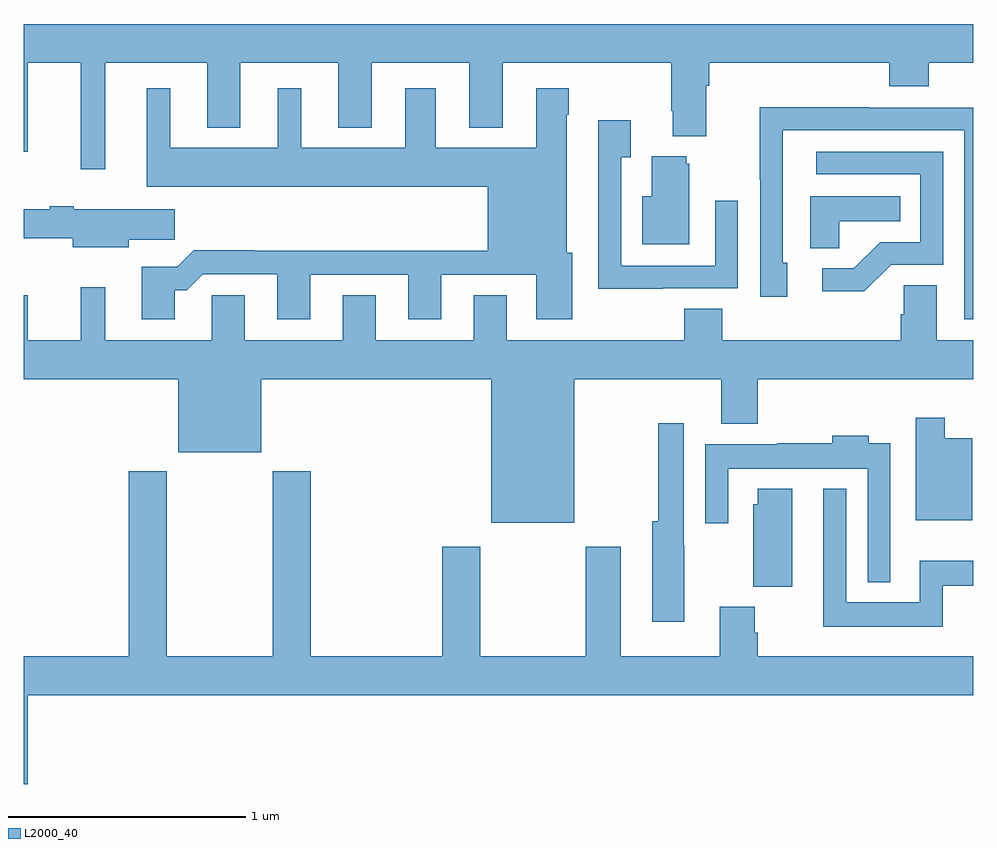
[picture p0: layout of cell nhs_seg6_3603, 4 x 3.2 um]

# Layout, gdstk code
import gdstk
lib = gdstk.Library(unit=1e-6, precision=1e-09)
def P(c, l, *ps):  # polygons
    for p in ps: c.add(gdstk.Polygon(p, *l))
L2000_40 = (2000, 40)

nhs_seg6_3603 = lib.new_cell('nhs_seg6_3603')
P(nhs_seg6_3603, L2000_40, [(321.343,980.636),(321.773,980.636),(321.773,980.363),(321.913,980.363),(321.913,980.636),(322.325,980.636),(322.325,980.363),(322.465,980.363),(322.465,980.636),(322.877,980.636),(322.877,980.363),(323.017,980.363),(323.017,980.636),(323.728,980.636),(323.728,980.434),(323.735,980.434),(323.735,980.327),(323.875,980.327),(323.875,980.54),(323.888,980.54),(323.888,980.636),(324.647,980.636),(324.647,980.537),(324.812,980.537),(324.812,980.636),(325,980.636),(325,980.8),(321,980.8),(321,980.262),(321.016,980.262),(321.016,980.636),(321.239,980.636),(321.239,980.187),(321.343,980.187)],
  [(321.637,979.679),(321.686,979.679),(321.753,979.746),(322.067,979.746),(322.067,979.557),(322.207,979.557),(322.207,979.743),(322.619,979.743),(322.619,979.557),(322.759,979.557),(322.759,979.743),(323.159,979.743),(323.159,979.557),(323.311,979.557),(323.311,979.836),(323.287,979.836),(323.287,980.417),(323.295,980.417),(323.295,980.53),(323.159,980.53),(323.159,980.278),(322.735,980.278),(322.735,980.53),(322.607,980.53),(322.607,980.278),(322.168,980.278),(322.168,980.53),(322.07,980.53),(322.07,980.278),(321.616,980.278),(321.616,980.53),(321.518,980.53),(321.518,980.114),(322.955,980.114),(322.955,979.844),(321.971,979.844),(321.971,979.847),(321.716,979.847),(321.646,979.777),(321.497,979.777),(321.497,979.557),(321.637,979.557)],
  [(325,980.448),(324.563,980.448),(324.563,980.45),(324.1,980.45),(324.1,980.143),(324.102,980.143),(324.102,979.65),(324.217,979.65),(324.217,979.794),(324.198,979.794),(324.198,980.352),(324.963,980.352),(324.963,979.557),(325,979.557)],
  [(323.693,979.686),(324.009,979.686),(324.009,980.056),(323.913,980.056),(323.913,979.782),(323.517,979.782),(323.517,980.239),(323.557,980.239),(323.557,980.395),(323.42,980.395),(323.42,979.936),(323.421,979.936),(323.421,979.685),(323.693,979.685)],
  [(324.654,979.785),(324.873,979.785),(324.873,980.262),(324.339,980.262),(324.339,980.166),(324.777,980.166),(324.777,979.881),(324.608,979.881),(324.497,979.77),(324.363,979.77),(324.363,979.673),(324.541,979.673)],
  [(323.803,980.211),(323.792,980.211),(323.792,980.242),(323.645,980.242),(323.645,980.074),(323.606,980.074),(323.606,979.871),(323.803,979.871)],
  [(324.435,979.97),(324.692,979.97),(324.692,980.074),(324.314,980.074),(324.314,979.855),(324.435,979.855)],
  [(321.442,979.891),(321.637,979.891),(321.637,980.02),(321.21,980.02),(321.21,980.033),(321.11,980.033),(321.11,980.02),(321,980.02),(321,979.898),(321.206,979.898),(321.206,979.859),(321.442,979.859)],
  [(323.32,979.304),(323.939,979.304),(323.939,979.115),(324.092,979.115),(324.092,979.304),(325,979.304),(325,979.468),(324.847,979.468),(324.847,979.7),(324.708,979.7),(324.708,979.577),(324.695,979.577),(324.695,979.468),(323.942,979.468),(323.942,979.601),(323.782,979.601),(323.782,979.468),(323.035,979.468),(323.035,979.658),(322.895,979.658),(322.895,979.468),(322.483,979.468),(322.483,979.658),(322.343,979.658),(322.343,979.468),(321.931,979.468),(321.931,979.658),(321.792,979.658),(321.792,979.468),(321.343,979.468),(321.343,979.69),(321.239,979.69),(321.239,979.468),(321.016,979.468),(321.016,979.657),(321,979.657),(321,979.304),(321.65,979.304),(321.65,978.995),(322,978.995),(322,979.304),(322.97,979.304),(322.97,978.698),(323.32,978.698)],
  [(324.997,979.054),(324.88,979.054),(324.88,979.141),(324.758,979.141),(324.758,978.71),(324.997,978.71)],
  [(323.782,978.602),(323.781,978.602),(323.781,979.117),(323.673,979.117),(323.673,978.706),(323.648,978.706),(323.648,978.282),(323.782,978.282)],
  [(324.651,979.033),(324.559,979.033),(324.559,979.066),(324.407,979.066),(324.407,979.033),(324.175,979.033),(324.175,979.03),(323.871,979.03),(323.871,978.696),(323.967,978.696),(323.967,978.926),(324.555,978.926),(324.555,978.449),(324.651,978.449)],
  [(321.016,977.972),(325,977.972),(325,978.136),(324.092,978.136),(324.092,978.236),(324.079,978.236),(324.079,978.345),(323.932,978.345),(323.932,978.136),(323.515,978.136),(323.515,978.598),(323.368,978.598),(323.368,978.136),(322.923,978.136),(322.923,978.598),(322.763,978.598),(322.763,978.136),(322.208,978.136),(322.208,978.916),(322.048,978.916),(322.048,978.136),(321.603,978.136),(321.603,978.916),(321.443,978.916),(321.443,978.136),(321,978.136),(321,977.598),(321.016,977.598)],
  [(324.238,978.841),(324.092,978.841),(324.092,978.777),(324.074,978.777),(324.074,978.43),(324.238,978.43)],
  [(324.872,978.434),(325,978.434),(325,978.538),(324.774,978.538),(324.774,978.364),(324.465,978.364),(324.465,978.841),(324.368,978.841),(324.368,978.26),(324.872,978.26)])

lib.write_gds('nhs_seg6_3603.gds')
